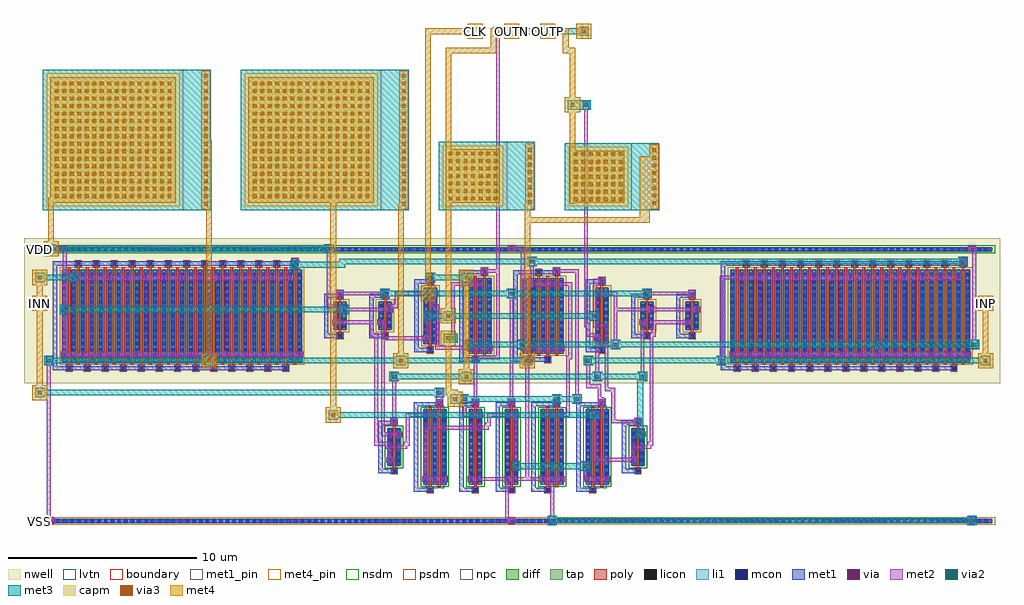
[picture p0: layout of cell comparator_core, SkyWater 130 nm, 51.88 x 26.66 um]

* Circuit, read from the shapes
.subckt comparator_core CLK INN INP OUTN OUTP TRKAB VDD VSS
XM1 OUTN OUTP n1 VSS sky130_fd_pr__nfet_01v8 w=2 l=0.15
XM2 n1 INN n2 VSS sky130_fd_pr__nfet_01v8_lvt w=4 l=0.15 m=2
XM3 n3 TRKAB VSS VSS sky130_fd_pr__nfet_01v8 w=4 l=0.15
XM4 n2 CLK VSS VSS sky130_fd_pr__nfet_01v8 w=4 l=0.15
XM5 n4 n3 VSS VSS sky130_fd_pr__nfet_01v8 w=4 l=0.15 m=2
XM6 n5 INP n2 VSS sky130_fd_pr__nfet_01v8_lvt w=4 l=0.15 m=2
XM7 OUTP OUTN n5 VSS sky130_fd_pr__nfet_01v8 w=2 l=0.15
XM8 INN n4 VDD VDD sky130_fd_pr__pfet_01v8 w=4.92 l=0.15 m=26
XM9 VDD CLK n1 VDD sky130_fd_pr__pfet_01v8 w=1.5 l=0.15
XM10 VDD CLK OUTN VDD sky130_fd_pr__pfet_01v8 w=1.5 l=0.15
XM11 VDD OUTP OUTN VDD sky130_fd_pr__pfet_01v8 w=3 l=0.15
XM12 n3 TRKAB VDD VDD sky130_fd_pr__pfet_01v8 w=4 l=0.15 m=2
XM13 n4 n3 VDD VDD sky130_fd_pr__pfet_01v8 w=4 l=0.15 m=4
XM14 VDD OUTN OUTP VDD sky130_fd_pr__pfet_01v8 w=3 l=0.15
XM15 VDD CLK OUTP VDD sky130_fd_pr__pfet_01v8 w=1.5 l=0.15
XM16 VDD CLK n5 VDD sky130_fd_pr__pfet_01v8 w=1.5 l=0.15
XM17 INP n4 VDD VDD sky130_fd_pr__pfet_01v8 w=4.92 l=0.15 m=26
XC18 n1 VSS sky130_fd_pr__cap_mim_m3_1 w=7.07 l=7.07
XC19 n5 VSS sky130_fd_pr__cap_mim_m3_1 w=7.07 l=7.07
XC20 OUTN VSS sky130_fd_pr__cap_mim_m3_1 w=3.23 l=3.23
XC21 OUTP VSS sky130_fd_pr__cap_mim_m3_1 w=3.16 l=3.16
.ends

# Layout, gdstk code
import gdstk
lib = gdstk.Library(unit=1e-6, precision=1e-09)
def R(c, l, rs):  # rectangles x0, y0, x1, y1
    for r in rs: c.add(gdstk.rectangle(r[:2], r[2:], *l))
def A(c, l, x, y, w, h, nx, ny, dx, dy):  # array of equal rectangles
    R(c, l, [(x+i*dx, y+j*dy, x+i*dx+w, y+j*dy+h) for i in range(nx) for j in range(ny)])
nwell = (64, 20)
diff = (65, 20)
tap = (65, 44)
poly = (66, 20)
licon = (66, 44)
li1 = (67, 20)
mcon = (67, 44)
met1_pin = (68, 16)
met1 = (68, 20)
via = (68, 44)
met2 = (69, 20)
via2 = (69, 44)
met3 = (70, 20)
via3 = (70, 44)
met4_pin = (71, 16)
met4 = (71, 20)
capm = (89, 44)
nsdm = (93, 44)
psdm = (94, 20)
npc = (95, 20)
lvtn = (125, 44)
boundary = (235, 4)

dev_nfet_w4_l0p15_nf1_g0 = lib.new_cell('dev_nfet_w4_l0p15_nf1_g0')
R(dev_nfet_w4_l0p15_nf1_g0, diff, [(-0.365,-2,0.365,2)])
R(dev_nfet_w4_l0p15_nf1_g0, poly, [(-0.165,-2.44,0.165,-2.11), (-0.075,-2.11,0.075,2.11), (-0.165,2.11,0.165,2.44)])
A(dev_nfet_w4_l0p15_nf1_g0, licon, -0.305, -1.785, 0.17, 0.17, 1, 11, 0, 0.34)
A(dev_nfet_w4_l0p15_nf1_g0, licon, 0.135, -1.785, 0.17, 0.17, 1, 11, 0, 0.34)
R(dev_nfet_w4_l0p15_nf1_g0, licon, [(-0.085,-2.36,0.085,-2.19), (-0.085,2.19,0.085,2.36)])
R(dev_nfet_w4_l0p15_nf1_g0, li1, [(-0.165,-2.36,0.165,-2.19), (-0.305,-2.02,-0.135,2.02), (0.135,-2.02,0.305,2.02), (-0.165,2.19,0.165,2.36)])
A(dev_nfet_w4_l0p15_nf1_g0, mcon, -0.305, -1.885, 0.17, 0.17, 1, 11, 0, 0.36)
A(dev_nfet_w4_l0p15_nf1_g0, mcon, 0.135, -1.885, 0.17, 0.17, 1, 11, 0, 0.36)
R(dev_nfet_w4_l0p15_nf1_g0, mcon, [(-0.085,-2.36,0.085,-2.19), (-0.085,2.19,0.085,2.36)])
R(dev_nfet_w4_l0p15_nf1_g0, met1, [(-0.145,-2.39,0.145,-2.16), (-0.335,-2,-0.105,2), (0.105,-2,0.335,2), (-0.145,2.16,0.145,2.39)])
R(dev_nfet_w4_l0p15_nf1_g0, nsdm, [(-0.49,-2.125,0.49,2.125)])
R(dev_nfet_w4_l0p15_nf1_g0, npc, [(-0.185,-2.46,0.185,-2.09), (-0.185,2.09,0.185,2.46)])

dev_nfet_w4_l0p15_nf2_g0 = lib.new_cell('dev_nfet_w4_l0p15_nf2_g0')
R(dev_nfet_w4_l0p15_nf2_g0, diff, [(-0.625,-2,0.625,2)])
R(dev_nfet_w4_l0p15_nf2_g0, poly, [(-0.405,-2.44,-0.075,-2.11), (0.165,-2.13,0.315,2.11), (-0.315,-2.11,-0.165,2.13), (0.075,2.11,0.405,2.44)])
A(dev_nfet_w4_l0p15_nf2_g0, licon, -0.565, -1.785, 0.17, 0.17, 3, 11, 0.48, 0.34)
R(dev_nfet_w4_l0p15_nf2_g0, licon, [(-0.325,-2.36,-0.155,-2.19), (0.155,2.19,0.325,2.36)])
A(dev_nfet_w4_l0p15_nf2_g0, li1, -0.565, -2.02, 0.17, 4.04, 3, 1, 0.48, 0)
R(dev_nfet_w4_l0p15_nf2_g0, li1, [(-0.405,-2.36,-0.075,-2.19), (0.075,2.19,0.405,2.36)])
A(dev_nfet_w4_l0p15_nf2_g0, mcon, -0.565, -1.885, 0.17, 0.17, 3, 11, 0.48, 0.36)
R(dev_nfet_w4_l0p15_nf2_g0, mcon, [(-0.325,-2.36,-0.155,-2.19), (0.155,2.19,0.325,2.36)])
A(dev_nfet_w4_l0p15_nf2_g0, met1, -0.595, -2, 0.23, 4, 3, 1, 0.48, 0)
R(dev_nfet_w4_l0p15_nf2_g0, met1, [(-0.385,-2.39,-0.095,-2.16), (0.095,2.16,0.385,2.39)])
R(dev_nfet_w4_l0p15_nf2_g0, nsdm, [(-0.75,-2.125,0.75,2.125)])
R(dev_nfet_w4_l0p15_nf2_g0, npc, [(-0.425,-2.46,-0.055,-2.09), (0.055,2.09,0.425,2.46)])

dev_nfet_lvt_w4_l0p15_nf = lib.new_cell('dev_nfet_lvt_w4_l0p15_nf2_g0')
R(dev_nfet_lvt_w4_l0p15_nf, diff, [(-0.625,-2,0.625,2)])
R(dev_nfet_lvt_w4_l0p15_nf, poly, [(-0.405,-2.44,-0.075,-2.11), (0.165,-2.13,0.315,2.11), (-0.315,-2.11,-0.165,2.13), (0.075,2.11,0.405,2.44)])
A(dev_nfet_lvt_w4_l0p15_nf, licon, -0.565, -1.785, 0.17, 0.17, 3, 11, 0.48, 0.34)
R(dev_nfet_lvt_w4_l0p15_nf, licon, [(-0.325,-2.36,-0.155,-2.19), (0.155,2.19,0.325,2.36)])
A(dev_nfet_lvt_w4_l0p15_nf, li1, -0.565, -2.02, 0.17, 4.04, 3, 1, 0.48, 0)
R(dev_nfet_lvt_w4_l0p15_nf, li1, [(-0.405,-2.36,-0.075,-2.19), (0.075,2.19,0.405,2.36)])
A(dev_nfet_lvt_w4_l0p15_nf, mcon, -0.565, -1.885, 0.17, 0.17, 3, 11, 0.48, 0.36)
R(dev_nfet_lvt_w4_l0p15_nf, mcon, [(-0.325,-2.36,-0.155,-2.19), (0.155,2.19,0.325,2.36)])
A(dev_nfet_lvt_w4_l0p15_nf, met1, -0.595, -2, 0.23, 4, 3, 1, 0.48, 0)
R(dev_nfet_lvt_w4_l0p15_nf, met1, [(-0.385,-2.39,-0.095,-2.16), (0.095,2.16,0.385,2.39)])
R(dev_nfet_lvt_w4_l0p15_nf, nsdm, [(-0.75,-2.125,0.75,2.125)])
R(dev_nfet_lvt_w4_l0p15_nf, npc, [(-0.425,-2.46,-0.055,-2.09), (0.055,2.09,0.425,2.46)])
R(dev_nfet_lvt_w4_l0p15_nf, lvtn, [(-0.495,-2.18,0.495,2.18)])

dev_nfet_w2_l0p15_nf1_g0 = lib.new_cell('dev_nfet_w2_l0p15_nf1_g0')
R(dev_nfet_w2_l0p15_nf1_g0, diff, [(-0.365,-1,0.365,1)])
R(dev_nfet_w2_l0p15_nf1_g0, poly, [(-0.165,-1.44,0.165,-1.11), (-0.075,-1.11,0.075,1.11), (-0.165,1.11,0.165,1.44)])
A(dev_nfet_w2_l0p15_nf1_g0, licon, -0.305, -0.935, 0.17, 0.17, 1, 6, 0, 0.34)
A(dev_nfet_w2_l0p15_nf1_g0, licon, 0.135, -0.935, 0.17, 0.17, 1, 6, 0, 0.34)
R(dev_nfet_w2_l0p15_nf1_g0, licon, [(-0.085,-1.36,0.085,-1.19), (-0.085,1.19,0.085,1.36)])
R(dev_nfet_w2_l0p15_nf1_g0, li1, [(-0.165,-1.36,0.165,-1.19), (-0.305,-1.02,-0.135,1.02), (0.135,-1.02,0.305,1.02), (-0.165,1.19,0.165,1.36)])
A(dev_nfet_w2_l0p15_nf1_g0, mcon, -0.305, -0.805, 0.17, 0.17, 1, 5, 0, 0.36)
A(dev_nfet_w2_l0p15_nf1_g0, mcon, 0.135, -0.805, 0.17, 0.17, 1, 5, 0, 0.36)
R(dev_nfet_w2_l0p15_nf1_g0, mcon, [(-0.085,-1.36,0.085,-1.19), (-0.085,1.19,0.085,1.36)])
R(dev_nfet_w2_l0p15_nf1_g0, met1, [(-0.145,-1.39,0.145,-1.16), (-0.335,-1,-0.105,1), (0.105,-1,0.335,1), (-0.145,1.16,0.145,1.39)])
R(dev_nfet_w2_l0p15_nf1_g0, nsdm, [(-0.49,-1.125,0.49,1.125)])
R(dev_nfet_w2_l0p15_nf1_g0, npc, [(-0.185,-1.46,0.185,-1.09), (-0.185,1.09,0.185,1.46)])

dev_pfet_w4_l0p15_nf2_g0 = lib.new_cell('dev_pfet_w4_l0p15_nf2_g0')
R(dev_pfet_w4_l0p15_nf2_g0, nwell, [(-0.805,-2.5,0.325,-2.31), (-0.805,-2.31,0.805,2.31), (-0.325,2.31,0.805,2.5)])
R(dev_pfet_w4_l0p15_nf2_g0, diff, [(-0.625,-2,0.625,2)])
R(dev_pfet_w4_l0p15_nf2_g0, poly, [(-0.405,-2.485,-0.075,-2.155), (-0.315,-2.155,-0.165,2.13), (0.165,-2.13,0.315,2.155), (0.075,2.155,0.405,2.485)])
A(dev_pfet_w4_l0p15_nf2_g0, licon, -0.565, -1.785, 0.17, 0.17, 3, 11, 0.48, 0.34)
R(dev_pfet_w4_l0p15_nf2_g0, licon, [(-0.325,-2.405,-0.155,-2.235), (0.155,2.235,0.325,2.405)])
A(dev_pfet_w4_l0p15_nf2_g0, li1, -0.565, -2.02, 0.17, 4.04, 3, 1, 0.48, 0)
R(dev_pfet_w4_l0p15_nf2_g0, li1, [(-0.405,-2.405,-0.075,-2.235), (0.075,2.235,0.405,2.405)])
A(dev_pfet_w4_l0p15_nf2_g0, mcon, -0.565, -1.885, 0.17, 0.17, 3, 11, 0.48, 0.36)
R(dev_pfet_w4_l0p15_nf2_g0, mcon, [(-0.325,-2.405,-0.155,-2.235), (0.155,2.235,0.325,2.405)])
A(dev_pfet_w4_l0p15_nf2_g0, met1, -0.595, -2, 0.23, 4, 3, 1, 0.48, 0)
R(dev_pfet_w4_l0p15_nf2_g0, met1, [(-0.385,-2.435,-0.095,-2.205), (0.095,2.205,0.385,2.435)])
R(dev_pfet_w4_l0p15_nf2_g0, psdm, [(-0.75,-2.125,0.75,2.125)])
R(dev_pfet_w4_l0p15_nf2_g0, npc, [(-0.425,-2.505,-0.055,-2.135), (0.055,2.135,0.425,2.505)])

dev_pfet_w4_l0p15_nf4_g0 = lib.new_cell('dev_pfet_w4_l0p15_nf4_g0')
R(dev_pfet_w4_l0p15_nf4_g0, nwell, [(-1.285,-2.5,0.805,-2.31), (-1.285,-2.31,1.285,2.31), (-0.805,2.31,1.285,2.5)])
R(dev_pfet_w4_l0p15_nf4_g0, diff, [(-1.105,-2,1.105,2)])
R(dev_pfet_w4_l0p15_nf4_g0, poly, [(-0.885,-2.485,-0.555,-2.155), (0.075,-2.485,0.405,-2.155), (-0.795,-2.155,-0.645,2.13), (0.165,-2.155,0.315,2.13), (-0.315,-2.13,-0.165,2.155), (0.645,-2.13,0.795,2.155), (-0.405,2.155,-0.075,2.485), (0.555,2.155,0.885,2.485)])
A(dev_pfet_w4_l0p15_nf4_g0, licon, -1.045, -1.785, 0.17, 0.17, 5, 11, 0.48, 0.34)
R(dev_pfet_w4_l0p15_nf4_g0, licon, [(-0.805,-2.405,-0.635,-2.235), (0.155,-2.405,0.325,-2.235), (-0.325,2.235,-0.155,2.405), (0.635,2.235,0.805,2.405)])
A(dev_pfet_w4_l0p15_nf4_g0, li1, -1.045, -2.02, 0.17, 4.04, 5, 1, 0.48, 0)
R(dev_pfet_w4_l0p15_nf4_g0, li1, [(-0.885,-2.405,-0.555,-2.235), (0.075,-2.405,0.405,-2.235), (-0.405,2.235,-0.075,2.405), (0.555,2.235,0.885,2.405)])
A(dev_pfet_w4_l0p15_nf4_g0, mcon, -1.045, -1.885, 0.17, 0.17, 5, 11, 0.48, 0.36)
R(dev_pfet_w4_l0p15_nf4_g0, mcon, [(-0.805,-2.405,-0.635,-2.235), (0.155,-2.405,0.325,-2.235), (-0.325,2.235,-0.155,2.405), (0.635,2.235,0.805,2.405)])
A(dev_pfet_w4_l0p15_nf4_g0, met1, -1.075, -2, 0.23, 4, 5, 1, 0.48, 0)
R(dev_pfet_w4_l0p15_nf4_g0, met1, [(-0.865,-2.435,-0.575,-2.205), (0.095,-2.435,0.385,-2.205), (-0.385,2.205,-0.095,2.435), (0.575,2.205,0.865,2.435)])
R(dev_pfet_w4_l0p15_nf4_g0, psdm, [(-1.23,-2.125,1.23,2.125)])
R(dev_pfet_w4_l0p15_nf4_g0, npc, [(-0.905,-2.505,-0.535,-2.135), (0.055,-2.505,0.425,-2.135), (-0.425,2.135,-0.055,2.505), (0.535,2.135,0.905,2.505)])

dev_pfet_w3_l0p15_nf1_g0 = lib.new_cell('dev_pfet_w3_l0p15_nf1_g0')
R(dev_pfet_w3_l0p15_nf1_g0, nwell, [(-0.545,-2,0.545,2)])
R(dev_pfet_w3_l0p15_nf1_g0, diff, [(-0.365,-1.5,0.365,1.5)])
R(dev_pfet_w3_l0p15_nf1_g0, poly, [(-0.165,-1.985,0.165,-1.655), (-0.075,-1.655,0.075,1.655), (-0.165,1.655,0.165,1.985)])
A(dev_pfet_w3_l0p15_nf1_g0, licon, -0.305, -1.275, 0.17, 0.17, 1, 8, 0, 0.34)
A(dev_pfet_w3_l0p15_nf1_g0, licon, 0.135, -1.275, 0.17, 0.17, 1, 8, 0, 0.34)
R(dev_pfet_w3_l0p15_nf1_g0, licon, [(-0.085,-1.905,0.085,-1.735), (-0.085,1.735,0.085,1.905)])
R(dev_pfet_w3_l0p15_nf1_g0, li1, [(-0.165,-1.905,0.165,-1.735), (-0.305,-1.52,-0.135,1.52), (0.135,-1.52,0.305,1.52), (-0.165,1.735,0.165,1.905)])
A(dev_pfet_w3_l0p15_nf1_g0, mcon, -0.305, -1.345, 0.17, 0.17, 1, 8, 0, 0.36)
A(dev_pfet_w3_l0p15_nf1_g0, mcon, 0.135, -1.345, 0.17, 0.17, 1, 8, 0, 0.36)
R(dev_pfet_w3_l0p15_nf1_g0, mcon, [(-0.085,-1.905,0.085,-1.735), (-0.085,1.735,0.085,1.905)])
R(dev_pfet_w3_l0p15_nf1_g0, met1, [(-0.145,-1.935,0.145,-1.705), (-0.335,-1.5,-0.105,1.5), (0.105,-1.5,0.335,1.5), (-0.145,1.705,0.145,1.935)])
R(dev_pfet_w3_l0p15_nf1_g0, psdm, [(-0.49,-1.625,0.49,1.625)])
R(dev_pfet_w3_l0p15_nf1_g0, npc, [(-0.185,-2.005,0.185,-1.635), (-0.185,1.635,0.185,2.005)])

dev_pfet_w1p5_l0p15_nf1_ = lib.new_cell('dev_pfet_w1p5_l0p15_nf1_g0')
R(dev_pfet_w1p5_l0p15_nf1_, nwell, [(-0.545,-1.25,0.545,1.25)])
R(dev_pfet_w1p5_l0p15_nf1_, diff, [(-0.365,-0.75,0.365,0.75)])
R(dev_pfet_w1p5_l0p15_nf1_, poly, [(-0.165,-1.235,0.165,-0.905), (-0.075,-0.905,0.075,0.905), (-0.165,0.905,0.165,1.235)])
A(dev_pfet_w1p5_l0p15_nf1_, licon, -0.305, -0.595, 0.17, 0.17, 1, 4, 0, 0.34)
A(dev_pfet_w1p5_l0p15_nf1_, licon, 0.135, -0.595, 0.17, 0.17, 1, 4, 0, 0.34)
R(dev_pfet_w1p5_l0p15_nf1_, licon, [(-0.085,-1.155,0.085,-0.985), (-0.085,0.985,0.085,1.155)])
R(dev_pfet_w1p5_l0p15_nf1_, li1, [(-0.165,-1.155,0.165,-0.985), (-0.305,-0.77,-0.135,0.77), (0.135,-0.77,0.305,0.77), (-0.165,0.985,0.165,1.155)])
A(dev_pfet_w1p5_l0p15_nf1_, mcon, -0.305, -0.625, 0.17, 0.17, 1, 4, 0, 0.36)
A(dev_pfet_w1p5_l0p15_nf1_, mcon, 0.135, -0.625, 0.17, 0.17, 1, 4, 0, 0.36)
R(dev_pfet_w1p5_l0p15_nf1_, mcon, [(-0.085,-1.155,0.085,-0.985), (-0.085,0.985,0.085,1.155)])
R(dev_pfet_w1p5_l0p15_nf1_, met1, [(-0.145,-1.185,0.145,-0.955), (-0.335,-0.75,-0.105,0.75), (0.105,-0.75,0.335,0.75), (-0.145,0.955,0.145,1.185)])
R(dev_pfet_w1p5_l0p15_nf1_, psdm, [(-0.49,-0.875,0.49,0.875)])
R(dev_pfet_w1p5_l0p15_nf1_, npc, [(-0.185,-1.255,0.185,-0.885), (-0.185,0.885,0.185,1.255)])

dev_pfet_w4p92_l0p15_nf2 = lib.new_cell('dev_pfet_w4p92_l0p15_nf26_g0')
R(dev_pfet_w4p92_l0p15_nf2, nwell, [(-6.565,-2.96,6.085,-2.77), (-6.565,-2.77,6.565,2.77), (-6.085,2.77,6.565,2.96)])
R(dev_pfet_w4p92_l0p15_nf2, diff, [(-6.385,-2.46,6.385,2.46)])
A(dev_pfet_w4p92_l0p15_nf2, poly, -6.165, -2.945, 0.33, 0.33, 13, 1, 0.96, 0)
A(dev_pfet_w4p92_l0p15_nf2, poly, -6.075, -2.615, 0.15, 5.205, 13, 1, 0.96, 0)
A(dev_pfet_w4p92_l0p15_nf2, poly, -5.595, -2.59, 0.15, 5.205, 13, 1, 0.96, 0)
A(dev_pfet_w4p92_l0p15_nf2, poly, -5.685, 2.615, 0.33, 0.33, 13, 1, 0.96, 0)
A(dev_pfet_w4p92_l0p15_nf2, licon, -6.085, -2.865, 0.17, 0.17, 13, 1, 0.96, 0)
A(dev_pfet_w4p92_l0p15_nf2, licon, -6.325, -2.295, 0.17, 0.17, 27, 14, 0.48, 0.34)
A(dev_pfet_w4p92_l0p15_nf2, licon, -5.605, 2.695, 0.17, 0.17, 13, 1, 0.96, 0)
A(dev_pfet_w4p92_l0p15_nf2, li1, -6.165, -2.865, 0.33, 0.17, 13, 1, 0.96, 0)
A(dev_pfet_w4p92_l0p15_nf2, li1, -6.325, -2.48, 0.17, 4.96, 27, 1, 0.48, 0)
A(dev_pfet_w4p92_l0p15_nf2, li1, -5.685, 2.695, 0.33, 0.17, 13, 1, 0.96, 0)
A(dev_pfet_w4p92_l0p15_nf2, mcon, -6.085, -2.865, 0.17, 0.17, 13, 1, 0.96, 0)
A(dev_pfet_w4p92_l0p15_nf2, mcon, -6.325, -2.245, 0.17, 0.17, 27, 13, 0.48, 0.36)
A(dev_pfet_w4p92_l0p15_nf2, mcon, -5.605, 2.695, 0.17, 0.17, 13, 1, 0.96, 0)
A(dev_pfet_w4p92_l0p15_nf2, met1, -6.145, -2.895, 0.29, 0.23, 13, 1, 0.96, 0)
A(dev_pfet_w4p92_l0p15_nf2, met1, -6.355, -2.46, 0.23, 4.92, 27, 1, 0.48, 0)
A(dev_pfet_w4p92_l0p15_nf2, met1, -5.665, 2.665, 0.29, 0.23, 13, 1, 0.96, 0)
R(dev_pfet_w4p92_l0p15_nf2, psdm, [(-6.51,-2.585,6.51,2.585)])
A(dev_pfet_w4p92_l0p15_nf2, npc, -6.185, -2.965, 0.37, 0.37, 13, 1, 0.96, 0)
A(dev_pfet_w4p92_l0p15_nf2, npc, -5.705, 2.595, 0.37, 0.37, 13, 1, 0.96, 0)

dev_mim_w7p07_l7p07 = lib.new_cell('dev_mim_w7p07_l7p07')
R(dev_mim_w7p07_l7p07, met3, [(-4.465,-3.735,4.465,3.735)])
A(dev_mim_w7p07_l7p07, via3, 4.105, -3.5, 0.2, 0.2, 1, 18, 0, 0.4)
A(dev_mim_w7p07_l7p07, via3, -3.83, -3.1, 0.2, 0.2, 16, 16, 0.4, 0.4)
R(dev_mim_w7p07_l7p07, met4, [(3.965,-3.675,4.445,3.675), (-4.07,-3.34,2.61,3.34)])
R(dev_mim_w7p07_l7p07, capm, [(-4.265,-3.535,2.805,3.535)])
R(dev_mim_w7p07_l7p07, boundary, [(-4.465,-3.735,3.005,3.735)])

dev_mim_w3p23_l3p23 = lib.new_cell('dev_mim_w3p23_l3p23')
R(dev_mim_w3p23_l3p23, met3, [(-2.545,-1.815,2.545,1.815)])
A(dev_mim_w3p23_l3p23, via3, 2.185, -1.5, 0.2, 0.2, 1, 8, 0, 0.4)
A(dev_mim_w3p23_l3p23, via3, -2.03, -1.3, 0.2, 0.2, 7, 7, 0.4, 0.4)
R(dev_mim_w3p23_l3p23, met4, [(2.045,-1.755,2.525,1.755), (-2.15,-1.42,0.69,1.42)])
R(dev_mim_w3p23_l3p23, capm, [(-2.345,-1.615,0.885,1.615)])
R(dev_mim_w3p23_l3p23, boundary, [(-2.545,-1.815,1.085,1.815)])

dev_mim_w3p16_l3p16 = lib.new_cell('dev_mim_w3p16_l3p16')
R(dev_mim_w3p16_l3p16, met3, [(-2.51,-1.78,2.51,1.78)])
A(dev_mim_w3p16_l3p16, via3, 2.15, -1.5, 0.2, 0.2, 1, 8, 0, 0.4)
A(dev_mim_w3p16_l3p16, via3, -2.03, -1.3, 0.2, 0.2, 7, 7, 0.4, 0.4)
R(dev_mim_w3p16_l3p16, met4, [(2.01,-1.72,2.49,1.72), (-2.115,-1.385,0.655,1.385)])
R(dev_mim_w3p16_l3p16, capm, [(-2.31,-1.58,0.85,1.58)])
R(dev_mim_w3p16_l3p16, boundary, [(-2.51,-1.78,1.05,1.78)])

comparator_core = lib.new_cell('comparator_core')
R(comparator_core, nwell, [(0,7.82,51.885,15.51)])
R(comparator_core, tap, [(0.38,0.4,51.505,0.57), (0.38,14.84,51.505,15.01)])
A(comparator_core, licon, 0.525, 0.4, 0.17, 0.17, 150, 2, 0.34, 14.44)
R(comparator_core, li1, [(0.42,0.4,51.465,0.57), (0.42,14.84,51.465,15.01)])
A(comparator_core, mcon, 0.655, 0.4, 0.17, 0.17, 141, 2, 0.36, 14.44)
R(comparator_core, met1_pin, [(0.75,0.43,0.85,0.53), (0.75,14.87,0.85,14.97)])
A(comparator_core, met1, 1.27, 0.34, 0.34, 0.03, 3, 1, 24.48, 0)
A(comparator_core, met1, 1.27, 0.6, 0.34, 0.08, 3, 1, 24.48, 0)
A(comparator_core, met1, 21.91, 6.81, 0.34, 0.16, 3, 1, 1.92, 0)
A(comparator_core, met1, 1.99, 9.18, 0.34, 0.34, 14, 1, 0.96, 0)
A(comparator_core, met1, 37.51, 9.18, 0.34, 0.34, 14, 1, 0.96, 0)
A(comparator_core, met1, 26.47, 9.52, 0.34, 0.34, 3, 1, 0.96, 0)
A(comparator_core, met1, 2.47, 13.26, 0.34, 0.34, 13, 1, 0.96, 0)
A(comparator_core, met1, 37.99, 13.26, 0.34, 0.34, 13, 1, 0.96, 0)
A(comparator_core, met1, 1.27, 14.79, 0.34, 0.02, 3, 1, 24.48, 0)
A(comparator_core, met1, 1.27, 15.04, 0.34, 0.09, 3, 1, 24.48, 0)
R(comparator_core, met1, [(0.44,0.37,51.445,0.6), (20.73,2.03,21.745,2.26), (23.15,2.03,24.145,2.26), (25.07,2.03,26.065,2.26), (26.97,2.03,27.985,2.26), (29.37,2.03,30.385,2.26), (20.73,2.26,20.96,6.58), (23.15,2.26,23.38,6.58), (25.07,2.26,25.3,6.58), (26.97,2.26,27.2,6.58), (29.37,2.26,29.6,6.58), (21.19,2.55,21.53,2.89), (22.15,2.55,22.49,2.89), (23.61,2.55,23.95,2.89), (25.53,2.55,25.87,2.89), (27.43,2.55,27.77,2.89), (28.39,2.55,28.73,2.89), (29.83,2.55,30.17,2.89), (30.79,2.55,31.13,2.89), (18.83,3.03,19.825,3.26), (31.79,3.03,32.785,3.26), (18.83,3.26,19.06,5.58), (31.79,3.26,32.02,5.58), (19.29,3.57,19.63,3.91), (32.25,3.57,32.59,3.91), (19.73,4.93,20.07,5.27), (32.69,4.93,33.03,5.27), (18.83,5.58,19.825,5.61), (31.79,5.58,32.785,5.61), (18.83,5.61,19.85,5.81), (31.79,5.61,32.81,5.81), (19.51,5.81,19.85,5.95), (32.47,5.81,32.81,5.95), (21.67,5.95,22.01,6.29), (24.05,5.95,24.39,6.29), (25.97,5.95,26.31,6.29), (27.91,5.95,28.25,6.29), (30.31,5.95,30.65,6.29), (20.73,6.58,22.225,6.63), (23.15,6.58,24.145,6.63), (25.07,6.58,26.065,6.63), (26.97,6.58,28.465,6.63), (29.37,6.58,30.865,6.63), (20.73,6.63,22.25,6.81), (23.15,6.63,24.17,6.81), (25.07,6.63,26.09,6.81), (26.97,6.63,28.49,6.81), (29.37,6.63,30.89,6.81), (28.15,6.81,28.49,6.97), (30.55,6.81,30.89,6.97), (1.53,8.495,14.065,8.725), (37.05,8.495,49.585,8.725), (1.53,8.725,1.76,14.055), (37.05,8.725,37.28,14.055), (23.13,8.955,24.145,9.185), (26.01,8.955,27.985,9.185), (23.13,9.185,23.36,13.595), (26.01,9.185,26.24,13.595), (20.75,9.455,21.745,9.685), (29.87,9.455,30.865,9.685), (23.59,9.52,23.93,9.86), (24.55,9.52,24.89,9.86), (20.75,9.685,20.98,13.095), (29.87,9.685,30.1,13.095), (21.21,10.03,21.55,10.37), (30.33,10.03,30.67,10.37), (15.95,10.205,16.945,10.435), (18.35,10.205,19.345,10.435), (32.27,10.205,33.265,10.435), (34.67,10.205,35.665,10.435), (15.95,10.435,16.18,12.345), (18.35,10.435,18.58,12.345), (32.27,10.435,32.5,12.345), (34.67,10.435,34.9,12.345), (16.41,10.88,16.75,11.22), (18.81,10.88,19.15,11.22), (32.73,10.88,33.07,11.22), (35.13,10.88,35.47,11.22), (16.85,11.56,17.19,11.9), (19.25,11.56,19.59,11.9), (33.17,11.56,33.51,11.9), (35.57,11.56,35.91,11.9), (15.95,12.345,16.945,12.41), (18.35,12.345,19.345,12.41), (32.27,12.345,33.265,12.41), (34.67,12.345,35.665,12.41), (15.95,12.41,16.97,12.575), (18.35,12.41,19.37,12.575), (21.65,12.41,21.99,12.75), (30.77,12.41,31.11,12.75), (32.27,12.41,33.29,12.575), (34.67,12.41,35.69,12.575), (16.63,12.575,16.97,12.75), (19.03,12.575,19.37,12.75), (32.95,12.575,33.29,12.75), (35.35,12.575,35.69,12.75), (24.07,12.92,24.41,13.26), (26.95,12.92,27.29,13.26), (27.91,12.92,28.25,13.26), (21.43,13.09,21.77,13.095), (30.55,13.09,30.89,13.095), (20.75,13.095,21.77,13.325), (29.87,13.095,30.89,13.325), (21.43,13.325,21.77,13.43), (30.55,13.325,30.89,13.43), (23.13,13.595,24.625,13.6), (26.01,13.595,28.465,13.6), (23.13,13.6,24.65,13.825), (26.01,13.6,28.49,13.825), (24.31,13.825,24.65,13.94), (28.15,13.825,28.49,13.94), (1.53,14.055,14.545,14.11), (37.05,14.055,50.065,14.11), (1.53,14.11,14.57,14.285), (37.05,14.11,50.09,14.285), (14.23,14.285,14.57,14.45), (49.75,14.285,50.09,14.45), (0.44,14.81,51.445,15.04)])
A(comparator_core, via, 1.365, 0.435, 0.15, 0.15, 3, 2, 24.48, 14.45)
A(comparator_core, via, 22.005, 6.725, 0.15, 0.15, 3, 1, 1.92, 0)
A(comparator_core, via, 2.085, 9.275, 0.15, 0.15, 14, 1, 0.96, 0)
A(comparator_core, via, 37.605, 9.275, 0.15, 0.15, 14, 1, 0.96, 0)
A(comparator_core, via, 26.565, 9.615, 0.15, 0.15, 3, 1, 0.96, 0)
A(comparator_core, via, 2.565, 13.355, 0.15, 0.15, 13, 1, 0.96, 0)
A(comparator_core, via, 38.085, 13.355, 0.15, 0.15, 13, 1, 0.96, 0)
R(comparator_core, via, [(21.285,2.645,21.435,2.795), (22.245,2.645,22.395,2.795), (23.705,2.645,23.855,2.795), (25.625,2.645,25.775,2.795), (27.525,2.645,27.675,2.795), (28.485,2.645,28.635,2.795), (29.925,2.645,30.075,2.795), (30.885,2.645,31.035,2.795), (19.385,3.665,19.535,3.815), (32.345,3.665,32.495,3.815), (19.825,5.025,19.975,5.175), (32.785,5.025,32.935,5.175), (19.605,5.705,19.755,5.855), (32.565,5.705,32.715,5.855), (21.765,6.045,21.915,6.195), (24.145,6.045,24.295,6.195), (26.065,6.045,26.215,6.195), (28.005,6.045,28.155,6.195), (30.405,6.045,30.555,6.195), (28.245,6.725,28.395,6.875), (30.645,6.725,30.795,6.875), (23.685,9.615,23.835,9.765), (24.645,9.615,24.795,9.765), (21.305,10.125,21.455,10.275), (30.425,10.125,30.575,10.275), (16.505,10.975,16.655,11.125), (18.905,10.975,19.055,11.125), (32.825,10.975,32.975,11.125), (35.225,10.975,35.375,11.125), (16.945,11.655,17.095,11.805), (19.345,11.655,19.495,11.805), (33.265,11.655,33.415,11.805), (35.665,11.655,35.815,11.805), (16.725,12.505,16.875,12.655), (19.125,12.505,19.275,12.655), (21.745,12.505,21.895,12.655), (30.865,12.505,31.015,12.655), (33.045,12.505,33.195,12.655), (35.445,12.505,35.595,12.655), (24.165,13.015,24.315,13.165), (27.045,13.015,27.195,13.165), (28.005,13.015,28.155,13.165), (21.525,13.185,21.675,13.335), (30.645,13.185,30.795,13.335), (24.405,13.695,24.555,13.845), (28.245,13.695,28.395,13.845), (14.325,14.205,14.475,14.355), (49.845,14.205,49.995,14.355)])
A(comparator_core, met2, 21.88, 6.6, 0.4, 0.4, 3, 1, 1.92, 0)
A(comparator_core, met2, 1.24, 15.06, 0.4, 0.04, 3, 1, 24.48, 0)
R(comparator_core, met2, [(27.91,0.31,28.25,0.71), (50.23,0.31,50.57,0.37), (1.24,0.37,1.64,0.41), (25.72,0.37,26.12,0.41), (50.2,0.37,50.6,0.65), (1.22,0.41,1.64,0.65), (25.58,0.41,26.12,0.65), (1.22,0.65,1.42,8.81), (25.58,0.65,25.78,2.58), (50.23,0.65,50.57,0.71), (27.98,0.71,28.18,2.58), (21.16,2.58,22.52,2.86), (23.58,2.58,23.98,2.62), (25.5,2.58,25.9,2.62), (27.4,2.58,28.76,2.62), (29.8,2.58,31.16,2.62), (23.58,2.62,28.76,2.82), (29.78,2.62,31.16,2.86), (23.58,2.82,23.98,2.86), (25.5,2.82,25.9,2.86), (26.66,2.82,26.86,8.81), (27.4,2.82,28.76,2.86), (21.26,2.86,21.46,5.34), (29.78,2.86,29.98,3.2), (25.99,3.2,26.33,3.6), (29.71,3.2,30.05,3.6), (19.26,3.6,19.66,3.88), (26.06,3.6,26.26,5.98), (32.22,3.6,32.62,3.64), (30.26,3.64,32.62,3.84), (30.26,3.84,30.46,5.92), (32.22,3.84,32.62,3.88), (19.34,3.88,19.54,4.32), (32.3,3.88,32.5,4.32), (19.22,4.32,20.38,4.49), (32.3,4.32,33.34,4.49), (18.62,4.49,20.5,4.52), (32.3,4.49,33.46,4.52), (18.62,4.52,19.42,4.69), (20.18,4.52,20.5,4.69), (33.14,4.52,33.46,4.69), (18.62,4.69,18.82,10.27), (20.3,4.69,20.5,6.02), (33.26,4.69,33.46,10.27), (32.59,4.9,32.93,4.96), (19.7,4.96,20.1,5), (32.59,4.96,33.06,5.24), (18.98,5,20.1,5.2), (18.98,5.2,19.18,10.1), (19.7,5.2,20.1,5.24), (32.59,5.24,32.93,5.3), (21.26,5.34,24.7,5.51), (21.26,5.51,24.82,5.54), (24.5,5.54,24.82,5.71), (19.48,5.58,19.88,5.98), (32.44,5.58,32.84,5.68), (31.22,5.68,32.84,5.88), (24.62,5.71,24.82,6.02), (31.22,5.88,31.42,7.38), (32.44,5.88,32.84,5.98), (30.19,5.92,30.53,5.98), (19.58,5.98,19.78,7.96), (21.64,5.98,22.04,6.02), (24.02,5.98,24.42,6.02), (25.94,5.98,26.34,6.02), (27.88,5.98,28.28,6.02), (30.19,5.98,30.68,6.26), (20.3,6.02,22.04,6.22), (23.3,6.02,24.42,6.22), (24.62,6.02,26.34,6.22), (27.88,6.02,29.02,6.22), (21.64,6.22,22.04,6.26), (23.3,6.22,23.5,6.77), (24.02,6.22,24.42,6.26), (25.94,6.22,26.34,6.26), (27.88,6.22,28.28,6.26), (28.82,6.22,29.02,9.08), (30.19,6.26,30.53,6.32), (28.12,6.6,28.52,7), (30.52,6.6,30.92,6.87), (23.23,6.77,23.57,7.17), (29.23,6.77,29.57,7.17), (30.5,6.87,30.92,7), (21.91,7,22.25,7.51), (23.9,7,24.1,8.91), (25.82,7,26.02,12.38), (28.15,7,28.49,7.17), (30.5,7,30.82,7.07), (30.5,7.07,30.7,7.55), (29.3,7.17,29.5,13.67), (30.86,7.38,31.42,7.58), (29.9,7.55,30.7,7.75), (30.86,7.58,31.06,10.78), (29.9,7.75,30.1,8.81), (19.51,7.96,19.85,8.36), (30.31,7.96,30.65,8.36), (32.71,7.96,33.05,8.36), (30.38,8.36,30.58,10.06), (32.78,8.36,32.98,10.91), (1.15,8.81,1.49,9.21), (26.59,8.81,26.93,9.21), (29.83,8.81,30.17,9.21), (36.91,8.81,37.25,9.21), (23.9,8.91,24.22,9.08), (23.9,9.08,25.3,9.11), (28.82,9.08,29.14,9.28), (24.02,9.11,25.3,9.28), (1.96,9.21,14.84,9.49), (36.98,9.21,37.18,13.33), (37.48,9.21,50.36,9.49), (25.1,9.28,25.3,13.67), (28.94,9.28,29.14,12.99), (2.06,9.49,2.26,11.53), (45.38,9.49,45.58,9.66), (23.56,9.55,24.92,9.59), (26.44,9.55,28.76,9.59), (21.86,9.59,24.92,9.79), (26.42,9.59,28.76,9.66), (26.35,9.66,28.76,9.83), (31.27,9.66,31.61,10.06), (45.31,9.66,45.65,10.06), (50.35,9.66,50.69,10.06), (21.86,9.79,22.06,11.8), (23.47,9.79,24.92,9.83), (23.47,9.83,23.81,10.06), (26.35,9.83,26.69,10.06), (22.63,10,22.97,10.4), (21.18,10.06,21.58,10.1), (26.42,10.06,26.62,14.86), (30.3,10.06,30.7,10.27), (31.34,10.06,31.54,11.63), (50.42,10.06,50.62,14.82), (18.98,10.1,21.58,10.3), (18.38,10.27,18.82,10.47), (29.9,10.27,30.7,10.34), (33.26,10.27,33.58,10.47), (18.98,10.3,19.18,10.91), (21.18,10.3,21.58,10.34), (21.38,10.34,21.58,11.19), (29.9,10.34,30.58,10.47), (22.7,10.4,22.9,12.99), (18.38,10.47,18.58,10.95), (29.9,10.47,30.1,10.78), (33.38,10.47,33.58,10.95), (29.78,10.78,30.1,10.98), (30.26,10.78,31.06,10.98), (16.38,10.91,16.78,10.95), (18.78,10.91,19.18,11.19), (32.7,10.91,33.1,11.19), (35.1,10.91,35.5,10.95), (16.38,10.95,18.58,11.15), (33.38,10.95,35.5,11.15), (29.78,10.98,29.98,22.41), (30.26,10.98,30.46,11.19), (16.38,11.15,16.78,11.19), (35.1,11.15,35.5,11.19), (16.46,11.19,16.66,11.8), (21.31,11.19,21.65,11.59), (30.19,11.19,30.53,11.59), (1.99,11.53,2.33,11.93), (16.87,11.53,17.21,11.59), (16.82,11.59,17.22,11.63), (19.22,11.59,19.62,11.63), (30.26,11.59,30.46,13.01), (33.14,11.59,33.54,11.63), (35.54,11.59,35.94,11.63), (16.82,11.63,19.62,11.8), (31.34,11.63,35.94,11.83), (16.1,11.8,16.66,12), (16.82,11.8,19.9,11.83), (21.62,11.8,22.06,12), (16.82,11.83,17.22,11.87), (19.22,11.83,19.9,12), (31.34,11.83,31.54,12.48), (33.14,11.83,33.54,11.87), (35.54,11.83,35.94,11.87), (16.87,11.87,17.21,11.93), (2.06,11.93,2.26,14.86), (16.1,12,16.3,14.76), (19.7,12,19.9,12.48), (21.62,12,21.82,12.44), (16.6,12.38,17,12.48), (19,12.38,19.4,12.48), (25.75,12.38,26.09,12.78), (32.92,12.38,33.32,12.48), (35.32,12.38,35.72,12.48), (21.62,12.44,22.02,12.48), (30.74,12.44,31.14,12.48), (16.6,12.48,19.4,12.68), (19.7,12.48,22.02,12.68), (30.74,12.48,31.54,12.68), (32.92,12.48,35.72,12.68), (16.6,12.68,17,12.78), (19,12.68,19.4,12.78), (21.62,12.68,22.02,12.72), (30.74,12.68,31.14,12.72), (32.92,12.68,33.32,12.78), (35.32,12.68,35.72,12.78), (24.04,12.95,24.44,12.99), (26.92,12.95,28.28,12.99), (22.7,12.99,24.44,13.19), (26.9,12.99,29.14,13.19), (30.26,13.01,30.57,13.06), (21.4,13.06,21.8,13.46), (30.26,13.06,30.92,13.36), (24.04,13.19,24.44,13.23), (26.9,13.19,28.28,13.23), (2.47,13.23,2.81,13.29), (26.9,13.23,27.1,14.08), (2.44,13.29,14.36,13.57), (37.96,13.29,49.88,13.33), (36.98,13.33,49.88,13.53), (30.52,13.36,30.92,13.46), (21.43,13.46,21.77,13.63), (37.96,13.53,49.88,13.57), (2.47,13.57,2.81,13.63), (24.28,13.57,24.68,13.67), (28.12,13.57,28.52,13.67), (24.28,13.67,25.3,13.87), (28.12,13.67,29.5,13.87), (24.28,13.87,24.68,13.97), (25.1,13.87,25.3,26.32), (28.12,13.87,28.52,13.97), (14.23,13.91,14.57,14.08), (14.2,14.08,14.6,14.48), (26.83,14.08,27.17,14.48), (49.72,14.08,50.12,14.48), (16.03,14.76,16.37,15.16), (1.24,14.82,1.64,14.86), (25.72,14.82,26.12,14.86), (50.2,14.82,50.62,14.86), (1.22,14.86,2.26,15.06), (25.7,14.86,26.62,15.06), (50.18,14.86,50.62,15.06), (29.71,22.41,30.05,22.81), (25.03,26.32,25.37,26.72)])
R(comparator_core, via2, [(27.98,0.41,28.18,0.61), (50.3,0.41,50.5,0.61), (26.06,3.3,26.26,3.5), (29.78,3.3,29.98,3.5), (32.66,5,32.86,5.2), (30.26,6.02,30.46,6.22), (23.3,6.87,23.5,7.07), (28.22,6.87,28.42,7.07), (29.3,6.87,29.5,7.07), (21.98,7.21,22.18,7.41), (19.58,8.06,19.78,8.26), (30.38,8.06,30.58,8.26), (32.78,8.06,32.98,8.26), (1.22,8.91,1.42,9.11), (26.66,8.91,26.86,9.11), (29.9,8.91,30.1,9.11), (36.98,8.91,37.18,9.11), (23.54,9.76,23.74,9.96), (26.42,9.76,26.62,9.96), (31.34,9.76,31.54,9.96), (45.38,9.76,45.58,9.96), (50.42,9.76,50.62,9.96), (22.7,10.1,22.9,10.3), (21.38,11.29,21.58,11.49), (30.26,11.29,30.46,11.49), (2.06,11.63,2.26,11.83), (16.94,11.63,17.14,11.83), (19.1,12.48,19.3,12.68), (25.82,12.48,26.02,12.68), (33.02,12.48,33.22,12.68), (2.54,13.33,2.74,13.53), (21.5,13.33,21.7,13.53), (14.3,14.01,14.5,14.21), (26.9,14.18,27.1,14.38), (49.82,14.18,50.02,14.38), (16.1,14.86,16.3,15.06), (29.78,22.51,29.98,22.71), (25.1,26.42,25.3,26.62)])
R(comparator_core, met3, [(27.83,0.26,28.33,0.36), (50.15,0.26,50.65,0.36), (27.83,0.36,50.65,0.66), (27.83,0.66,28.33,0.76), (50.15,0.66,50.65,0.76), (25.91,3.15,26.41,3.25), (29.63,3.15,30.13,3.25), (25.91,3.25,30.13,3.55), (25.91,3.55,26.41,3.65), (29.63,3.55,30.13,3.65), (32.51,4.85,33.01,5.35), (32.61,5.35,32.91,7.91), (16.19,5.87,16.69,5.97), (30.11,5.87,30.61,5.97), (16.19,5.97,30.61,6.27), (16.19,6.27,16.69,6.37), (30.11,6.27,30.61,6.37), (22.67,6.72,23.65,6.82), (28.07,6.72,28.57,6.82), (29.15,6.72,29.65,6.82), (22.67,6.82,29.65,7.12), (0.59,7.06,1.09,7.16), (21.83,7.06,22.33,7.16), (22.67,7.12,23.65,7.22), (28.07,7.12,28.57,7.22), (29.15,7.12,29.65,7.22), (0.59,7.16,22.33,7.46), (0.59,7.46,1.09,7.56), (21.83,7.46,22.33,7.56), (19.43,7.91,19.93,8.01), (23.27,7.91,23.77,8.01), (30.23,7.91,30.73,8.01), (32.61,7.91,33.13,8.01), (19.43,8.01,33.13,8.31), (19.43,8.31,19.93,8.41), (23.27,8.31,23.77,8.41), (30.23,8.31,30.73,8.41), (32.63,8.31,33.13,8.41), (1.07,8.76,1.57,8.86), (9.59,8.76,10.09,8.86), (19.79,8.76,20.29,8.86), (26.51,8.76,27.01,8.86), (29.75,8.76,30.25,8.86), (36.83,8.76,37.33,8.86), (50.87,8.76,51.37,8.86), (1.07,8.86,27.01,9.16), (29.75,8.86,51.37,9.16), (1.07,9.16,1.57,9.26), (9.59,9.16,10.09,9.26), (19.79,9.16,20.29,9.26), (26.51,9.16,27.01,9.26), (29.75,9.16,30.25,9.26), (36.83,9.16,37.33,9.26), (50.87,9.16,51.37,9.26), (23.39,9.61,23.89,9.71), (26.27,9.61,26.77,9.71), (31.19,9.61,31.69,9.71), (45.23,9.61,45.73,9.71), (50.27,9.61,50.77,9.71), (23.39,9.71,50.77,10.01), (22.31,9.95,23.05,10.45), (23.39,10.01,23.89,10.11), (26.27,10.01,26.77,10.11), (31.19,10.01,31.69,10.11), (45.23,10.01,45.73,10.11), (50.27,10.01,50.77,10.11), (21.23,11.14,21.73,11.24), (22.31,11.14,22.81,11.24), (30.11,11.14,30.61,11.24), (21.23,11.24,30.61,11.54), (1.91,11.48,2.41,11.58), (16.79,11.48,17.29,11.58), (21.23,11.54,21.73,11.64), (22.31,11.54,22.81,11.64), (30.11,11.54,30.61,11.64), (1.91,11.58,17.29,11.88), (1.91,11.88,2.41,11.98), (16.79,11.88,17.29,11.98), (18.95,12.33,19.45,12.43), (21.23,12.33,21.73,12.43), (25.67,12.33,26.17,12.43), (32.87,12.33,33.37,12.43), (18.95,12.43,33.37,12.73), (18.95,12.73,19.45,12.83), (21.23,12.73,21.73,12.83), (25.67,12.73,26.17,12.83), (32.87,12.73,33.37,12.83), (0.59,13.18,1.09,13.28), (2.39,13.18,2.89,13.28), (21.35,13.18,21.85,13.28), (23.27,13.18,23.77,13.28), (0.59,13.28,2.89,13.58), (21.35,13.28,23.77,13.58), (0.59,13.58,1.09,13.68), (2.39,13.58,2.89,13.68), (21.35,13.58,21.85,13.68), (23.27,13.58,23.77,13.68), (14.15,13.86,14.65,13.96), (14.15,13.96,17.07,14.13), (26.75,14.03,27.25,14.13), (49.67,14.03,50.17,14.13), (14.15,14.13,50.17,14.26), (14.15,14.26,14.65,14.36), (16.77,14.26,50.17,14.43), (26.75,14.43,27.25,14.53), (49.67,14.43,50.17,14.53), (1.19,14.71,1.69,14.81), (15.95,14.71,16.45,14.81), (1.19,14.81,16.45,15.11), (1.19,15.11,1.69,15.21), (15.95,15.11,16.45,15.21), (28.91,22.36,30.13,22.86), (24.95,26.27,25.45,26.37), (29.51,26.27,30.01,26.37), (24.95,26.37,30.01,26.67), (24.95,26.67,25.45,26.77), (29.51,26.67,30.01,26.77)])
R(comparator_core, via3, [(16.34,6.02,16.54,6.22), (22.82,6.87,23.02,7.07), (0.74,7.21,0.94,7.41), (23.42,8.06,23.62,8.26), (9.74,8.91,9.94,9.11), (19.94,8.91,20.14,9.11), (26.66,8.91,26.86,9.11), (51.02,8.91,51.22,9.11), (22.46,10.1,22.66,10.3), (22.46,11.29,22.66,11.49), (21.38,12.48,21.58,12.68), (0.74,13.33,0.94,13.53), (23.42,13.33,23.62,13.53), (1.34,14.86,1.54,15.06), (29.06,22.51,29.26,22.71), (29.66,26.42,29.86,26.62)])
A(comparator_core, met4_pin, 23.8, 26.32, 0.4, 0.4, 4, 1, 1.92, 0)
R(comparator_core, met4_pin, [(0.64,11.87,1.04,12.27), (50.92,11.87,51.32,12.27)])
A(comparator_core, met4, 23.6, 26.12, 0.8, 0.25, 3, 2, 1.92, 0.55)
R(comparator_core, met4, [(16.04,5.72,16.84,6.52), (16.29,6.52,16.59,19.87), (22.52,6.57,23.32,7.16), (0.44,6.91,1.24,7.71), (22.41,7.16,23.32,7.37), (22.41,7.37,23.07,7.46), (22.41,7.46,22.71,9.8), (0.69,7.71,0.99,11.67), (23.12,7.76,23.92,8.56), (23.37,8.56,23.67,13.03), (9.44,8.61,10.24,9.41), (19.64,8.61,20.44,9.41), (26.36,8.61,27.16,9.41), (50.72,8.61,51.52,9.41), (9.69,9.41,9.99,20.72), (19.89,9.41,20.19,17.32), (26.61,9.41,26.91,16.34), (50.97,9.41,51.27,11.67), (22.16,9.8,22.96,10.6), (22.16,10.99,22.96,11.79), (0.44,11.67,1.24,12.47), (50.72,11.67,51.52,12.47), (22.41,11.79,22.71,25.35), (21.08,12.18,21.88,12.98), (0.69,12.47,0.99,13.03), (21.33,12.98,21.63,26.37), (0.44,13.03,1.24,13.83), (23.12,13.03,23.92,13.83), (1.04,14.56,1.84,15.36), (1.29,15.36,1.59,17.66), (26.61,16.34,33.27,16.64), (26.61,16.64,26.91,17.32), (32.73,16.64,33.27,19.57), (29.01,17.36,29.31,22.21), (32.73,19.57,33.63,19.87), (28.76,22.21,29.56,23.01), (29.01,23.01,29.31,25.35), (22.41,25.35,25.11,25.65), (28.65,25.35,29.31,25.65), (24.81,25.65,25.11,26.37), (28.65,25.65,28.95,26.37), (29.36,26.12,30.16,26.92), (21.33,26.37,24.4,26.67), (24.81,26.37,26.32,26.67), (27.44,26.37,28.95,26.67)])
R(comparator_core, nsdm, [(0.255,14.715,51.63,15.135)])
R(comparator_core, psdm, [(0.255,0.275,51.63,0.695)])
comparator_core.add(gdstk.Reference(dev_nfet_w4_l0p15_nf1_g0, (24,4.42)))
comparator_core.add(gdstk.Reference(dev_nfet_w4_l0p15_nf1_g0, (25.92,4.42)))
comparator_core.add(gdstk.Reference(dev_nfet_w4_l0p15_nf2_g0, (28.08,4.42)))
comparator_core.add(gdstk.Reference(dev_nfet_lvt_w4_l0p15_nf, (21.84,4.42)))
comparator_core.add(gdstk.Reference(dev_nfet_lvt_w4_l0p15_nf, (30.48,4.42)))
comparator_core.add(gdstk.Reference(dev_nfet_w2_l0p15_nf1_g0, (19.68,4.42)))
comparator_core.add(gdstk.Reference(dev_nfet_w2_l0p15_nf1_g0, (32.64,4.42)))
comparator_core.add(gdstk.Reference(dev_pfet_w4_l0p15_nf2_g0, (24.24,11.39)))
comparator_core.add(gdstk.Reference(dev_pfet_w4_l0p15_nf4_g0, (27.6,11.39)))
comparator_core.add(gdstk.Reference(dev_pfet_w3_l0p15_nf1_g0, (21.6,11.39)))
comparator_core.add(gdstk.Reference(dev_pfet_w3_l0p15_nf1_g0, (30.72,11.39)))
comparator_core.add(gdstk.Reference(dev_pfet_w1p5_l0p15_nf1_, (16.8,11.39)))
comparator_core.add(gdstk.Reference(dev_pfet_w1p5_l0p15_nf1_, (19.2,11.39)))
comparator_core.add(gdstk.Reference(dev_pfet_w1p5_l0p15_nf1_, (33.12,11.39)))
comparator_core.add(gdstk.Reference(dev_pfet_w1p5_l0p15_nf1_, (35.52,11.39)))
comparator_core.add(gdstk.Reference(dev_pfet_w4p92_l0p15_nf2, (8.4,11.39)))
comparator_core.add(gdstk.Reference(dev_pfet_w4p92_l0p15_nf2, (43.92,11.39)))
comparator_core.add(gdstk.Reference(dev_mim_w7p07_l7p07, (5.465,20.745)))
comparator_core.add(gdstk.Reference(dev_mim_w7p07_l7p07, (15.995,20.745)))
comparator_core.add(gdstk.Reference(dev_mim_w3p23_l3p23, (24.605,18.825)))
comparator_core.add(gdstk.Reference(dev_mim_w3p16_l3p16, (31.26,18.79)))
comparator_core.add(gdstk.Label('INN', (0.84,12.07), layer=71, texttype=5))
comparator_core.add(gdstk.Label('INP', (51.12,12.07), layer=71, texttype=5))
comparator_core.add(gdstk.Label('CLK', (24,26.52), layer=71, texttype=5))
comparator_core.add(gdstk.Label('OUTN', (25.92,26.52), layer=71, texttype=5))
comparator_core.add(gdstk.Label('OUTP', (27.84,26.52), layer=71, texttype=5))
comparator_core.add(gdstk.Label('TRKAB', (29.76,26.52), layer=71, texttype=5))
comparator_core.add(gdstk.Label('VSS', (0.8,0.48), layer=68, texttype=5))
comparator_core.add(gdstk.Label('VDD', (0.8,14.92), layer=68, texttype=5))

lib.write_gds('comparator_core.gds')
